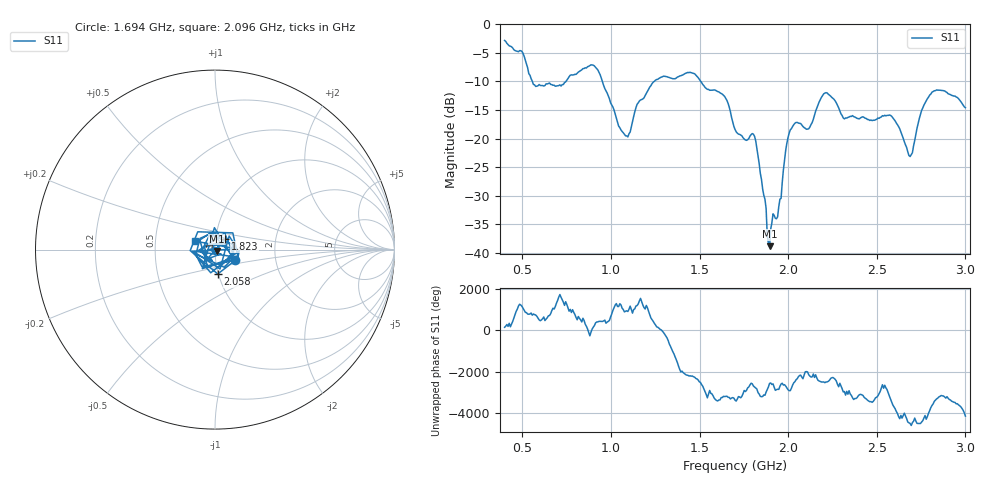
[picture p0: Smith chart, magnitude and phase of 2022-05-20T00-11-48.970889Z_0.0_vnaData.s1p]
!Created with skrf (http://scikit-rf.org).
# Hz S RI R 50.0
!freq ReS11 ImS11
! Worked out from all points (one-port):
!   401 points, 400 MHz to 3 GHz, reference 50 ohm
!   lowest |S11| = -38.8 dB at 1.895 GHz (marker M1), VSWR 1.02, Z = 50.8 - j0.782 ohm
!   |S11| at or under -10 dB: 556.5 MHz to 746.4 MHz (190 MHz wide, 29.2 % of centre); 951.3 MHz to 1.245 GHz (293.4 MHz wide, 26.7 % of centre); 1.507 GHz to end of sweep
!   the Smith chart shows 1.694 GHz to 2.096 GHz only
!   S11 on the Smith chart (normalised r, x): 1.694 GHz: 1.25, -0.15; 1.823 GHz: 1.11, +0.13; 2.058 GHz: 0.99, -0.27; 2.096 GHz: 0.79, +0.08
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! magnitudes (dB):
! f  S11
! 400 MHz  -2.8
! 497.5 MHz  -4.8
! 575.5 MHz  -10.9
! 725 MHz  -10.6
! 907 MHz  -7.3
! 1.05 GHz  -18.1
! 1.095 GHz  -19.7
! 1.154 GHz  -13.8
! 1.245 GHz  -10.0
! 1.375 GHz  -9.2
! 1.46 GHz  -8.5
! 1.629 GHz  -12.2
! 1.694 GHz  -17.9
! 1.7 GHz  -18.4
! 1.823 GHz  -21.7
! 1.895 GHz  -38.8
! 1.947 GHz  -31.9
! 1.992 GHz  -20.8
! 2.025 GHz  -17.9
! 2.058 GHz  -17.3
! 2.096 GHz  -18.2
! 2.207 GHz  -12.1
! 2.35 GHz  -16.1
! 2.578 GHz  -15.9
! 2.675 GHz  -22.3
! 2.695 GHz  -22.8
! 2.818 GHz  -11.8
! 3 GHz  -14.6
